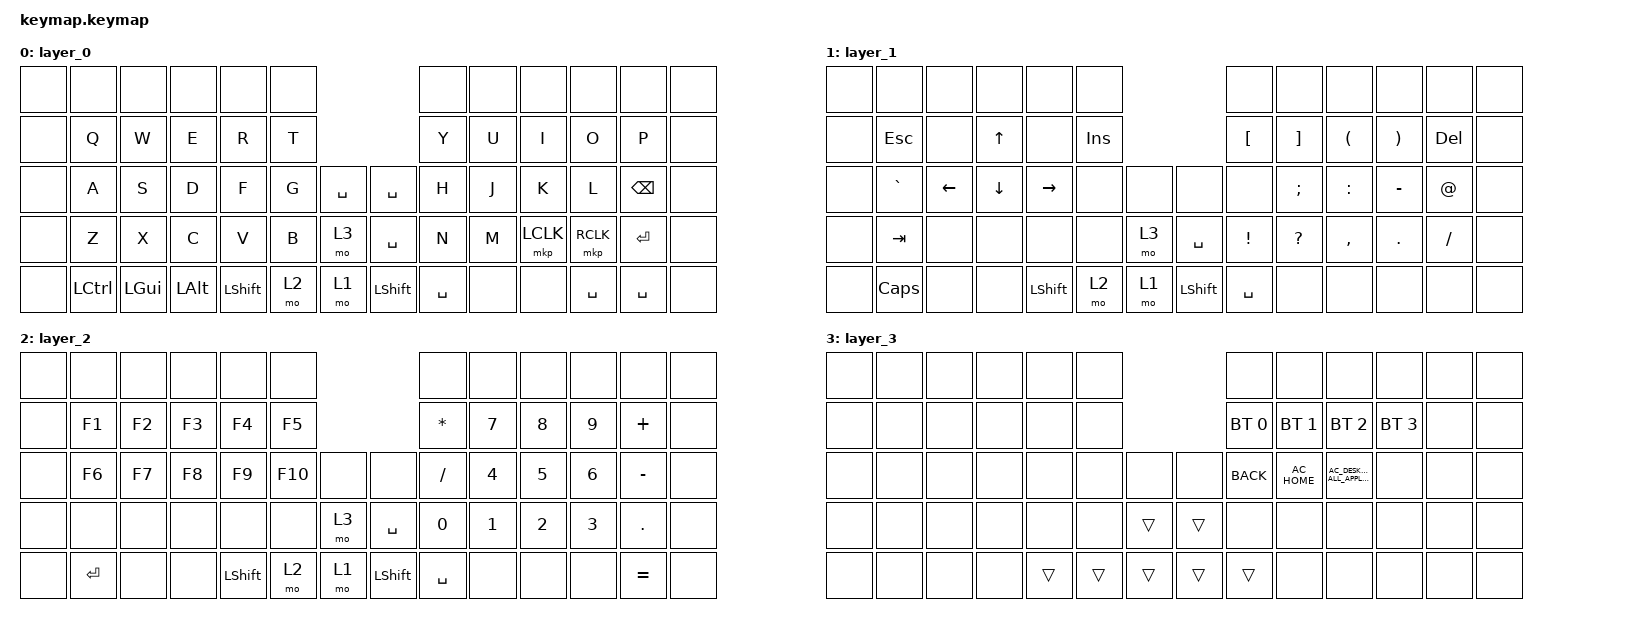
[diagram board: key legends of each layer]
#include <behaviors.dtsi>
#include <dt-bindings/zmk/bt.h>
#include <dt-bindings/zmk/keys.h>
#include <dt-bindings/zmk/pointing.h>

/ {
    combos {
        compatible = "zmk,combos";

        bt_clear {
            bindings = <&bt BT_CLR>;
            key-positions = <28 29>;
        };
    };

    keymap {
        compatible = "zmk,keymap";

        layer_0 {
            bindings = <
&none  &none      &none     &none     &none           &none                         &none      &none  &none      &none      &none      &none
&none  &kp Q      &kp W     &kp E     &kp R           &kp T                         &kp Y      &kp U  &kp I      &kp O      &kp P      &none
&none  &kp A      &kp S     &kp D     &kp F           &kp G  &kp SPACE  &kp SPACE   &kp H      &kp J  &kp K      &kp L      &kp BSPC   &none
&none  &kp Z      &kp X     &kp C     &kp V           &kp B  &mo 3      &kp SPACE   &kp N      &kp M  &mkp LCLK  &mkp RCLK  &kp ENTER  &none
&none  &kp LCTRL  &kp LGUI  &kp LALT  &kp LEFT_SHIFT  &mo 2  &mo 1      &kp LSHIFT  &kp SPACE  &none  &none      &kp SPACE  &kp SPACE  &none
            >;
        };

        layer_1 {
            bindings = <
&none  &none       &none           &none     &none            &none                              &none             &none              &none                 &none                  &none      &none
&none  &kp ESCAPE  &none           &kp UP    &none            &kp INSERT                         &kp LEFT_BRACKET  &kp RIGHT_BRACKET  &kp LEFT_PARENTHESIS  &kp RIGHT_PARENTHESIS  &kp DEL    &none
&none  &kp GRAVE   &kp LEFT_ARROW  &kp DOWN  &kp RIGHT_ARROW  &none       &none  &none           &none             &kp SEMICOLON      &kp COLON             &kp MINUS              &kp AT     &none
&none  &kp TAB     &none           &none     &none            &none       &mo 3  &kp SPACE       &kp EXCLAMATION   &kp QUESTION       &kp COMMA             &kp PERIOD             &kp SLASH  &none
&none  &kp CLCK    &none           &none     &kp LSHIFT       &mo 2       &mo 1  &kp LEFT_SHIFT  &kp SPACE         &none              &none                 &none                  &none      &none
            >;
        };

        layer_2 {
            bindings = <
&none  &none      &none   &none   &none           &none                           &none         &none   &none   &none   &none       &none
&none  &kp F1     &kp F2  &kp F3  &kp F4          &kp F5                          &kp ASTERISK  &kp N7  &kp N8  &kp N9  &kp PLUS    &none
&none  &kp F6     &kp F7  &kp F8  &kp F9          &kp F10  &none  &none           &kp SLASH     &kp N4  &kp N5  &kp N6  &kp MINUS   &none
&none  &none      &none   &none   &none           &none    &mo 3  &kp SPACE       &kp N0        &kp N1  &kp N2  &kp N3  &kp PERIOD  &none
&none  &kp ENTER  &none   &none   &kp LEFT_SHIFT  &mo 2    &mo 1  &kp LEFT_SHIFT  &kp SPACE     &none   &none   &none   &kp EQUAL   &none
            >;
        };

        layer_3 {
            bindings = <
&none  &none  &none  &none  &none   &none                   &none         &none          &none                                   &none         &none  &none
&none  &none  &none  &none  &none   &none                   &bt BT_SEL 0  &bt BT_SEL 1   &bt BT_SEL 2                            &bt BT_SEL 3  &none  &none
&none  &none  &none  &none  &none   &none   &none   &none   &kp K_BACK    &kp C_AC_HOME  &kp C_AC_DESKTOP_SHOW_ALL_APPLICATIONS  &none         &none  &none
&none  &none  &none  &none  &none   &none   &trans  &trans  &none         &none          &none                                   &none         &none  &none
&none  &none  &none  &none  &trans  &trans  &trans  &trans  &trans        &none          &none                                   &none         &none  &none
            >;
        };
    };
};
